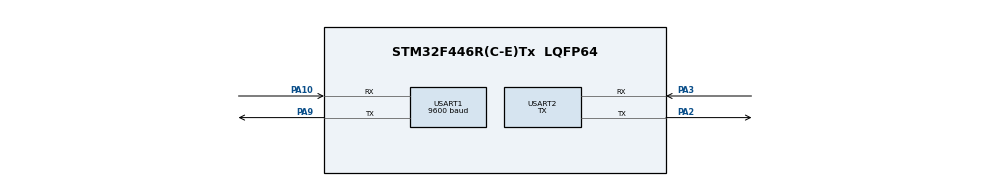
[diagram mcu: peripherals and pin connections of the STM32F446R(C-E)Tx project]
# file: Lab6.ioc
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Mcu.Family=STM32F4
Mcu.Name=STM32F446R(C-E)Tx
Mcu.Package=LQFP64
NVIC.PriorityGroup=NVIC_PRIORITYGROUP_4
NVIC.USART1_IRQn=true\:0\:0\:true\:false\:true\:true\:true\:true
NVIC.USART2_IRQn=true\:0\:0\:false\:false\:true\:true\:true\:true
PA10.Mode=Asynchronous
PA10.Signal=USART1_RX
PA2.Mode=Asynchronous
PA2.Signal=USART2_TX
PA3.Mode=Asynchronous
PA3.Signal=USART2_RX
PA9.Mode=Asynchronous
PA9.Signal=USART1_TX
ProjectManager.HeapSize=0x200
ProjectManager.StackSize=0x400
ProjectManager.TargetToolchain=STM32CubeIDE
RCC.CortexFreq_Value=16000000
RCC.USBFreq_Value=96000000
RCC.VCOOutputFreq_Value=192000000
USART1.BaudRate=9600
USART1.Mode=MODE_RX
USART1.VirtualMode=VM_ASYNC
USART2.Mode=MODE_TX
USART2.VirtualMode=VM_ASYNC
board=custom

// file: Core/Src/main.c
/* USER CODE BEGIN Header */
/**
  ******************************************************************************
  * @file           : main.c
  * @brief          : Main program body
  ******************************************************************************
  * @attention
  *
  * Copyright (c) 2024 STMicroelectronics.
  * All rights reserved.
  *
  * This software is licensed under terms that can be found in the LICENSE file
  * in the root directory of this software component.
  * If no LICENSE file comes with this software, it is provided AS-IS.
  *
  ******************************************************************************
  */
/* USER CODE END Header */
#include "main.h"

UART_HandleTypeDef huart1;
UART_HandleTypeDef huart2;

/* USER CODE BEGIN PV */
uint8_t buffer[10]; //Buffer que recive comandos
uint8_t Arriba[] = "Arriba\r\n";
uint8_t Abajo[] = "Abajo\r\n";
uint8_t Izquierda[] = "Izquierda\r\n";
uint8_t Derecha[] = "Derecha\r\n";
uint8_t A[] = "A\r\n";
uint8_t B[] = "B\r\n";

// Banderas para los caracteres 'a', 'b', 'c', 'd', 'e', 'f'
uint8_t flags[6] = {0};  // 0 para no enviado, 1 para enviado
/* USER CODE END PV */

void SystemClock_Config(void);
static void MX_GPIO_Init(void);
static void MX_USART1_UART_Init(void);
static void MX_USART2_UART_Init(void);

int main(void)
{

  /* MCU Configuration--------------------------------------------------------*/

  /* Reset of all peripherals, Initializes the Flash interface and the Systick. */
  HAL_Init();

  /* Configure the system clock */
  SystemClock_Config();

  /* Initialize all configured peripherals */
  MX_GPIO_Init();
  MX_USART1_UART_Init();
  MX_USART2_UART_Init();
  /* USER CODE BEGIN 2 */
  HAL_UART_Receive_IT(&huart1, buffer, 1);
  /* USER CODE END 2 */

  /* Infinite loop */
  /* USER CODE BEGIN WHILE */
  while (1)
  {
	  // Si se recibe 'a', imprime "Arriba"
	      if (buffer[0] == 'a') {
	          HAL_UART_Transmit(&huart2, Arriba, sizeof(Arriba), 1000);
	          buffer[0] = "o";
	      }
	      // Si se recibe 'b', imprime "Abajo"
	      else if (buffer[0] == 'b') {
	          HAL_UART_Transmit(&huart2, Abajo, sizeof(Abajo), 1000);
	          buffer[0] = "o";
	      }
	      // Si se recibe 'c', imprime "Izquierda"
	      else if (buffer[0] == 'c') {
	          HAL_UART_Transmit(&huart2, Izquierda, sizeof(Izquierda), 1000);
	          buffer[0] = "o";
	      }
	      // Si se recibe 'd', imprime "Derecha"
	      else if (buffer[0] == 'd') {
	          HAL_UART_Transmit(&huart2, Derecha, sizeof(Derecha), 1000);
	          buffer[0] = "o";
	      }
	      // Si se recibe 'e', imprime "A"
	      else if (buffer[0] == 'e') {
	          HAL_UART_Transmit(&huart2, A, sizeof(A), 1000);
	          buffer[0] = "o";
	      }
	      // Si se recibe 'f', imprime "B"
	      else if (buffer[0] == 'f') {
	          HAL_UART_Transmit(&huart2, B, sizeof(B), 1000);
	          buffer[0] = "o";
	      }

    /* USER CODE END WHILE */

  }
}

void SystemClock_Config(void)
{
  RCC_OscInitTypeDef RCC_OscInitStruct = {0};
  RCC_ClkInitTypeDef RCC_ClkInitStruct = {0};

  /** Configure the main internal regulator output voltage
  */
  __HAL_RCC_PWR_CLK_ENABLE();
  __HAL_PWR_VOLTAGESCALING_CONFIG(PWR_REGULATOR_VOLTAGE_SCALE3);

  /** Initializes the RCC Oscillators according to the specified parameters
  * in the RCC_OscInitTypeDef structure.
  */
  RCC_OscInitStruct.OscillatorType = RCC_OSCILLATORTYPE_HSI;
  RCC_OscInitStruct.HSIState = RCC_HSI_ON;
  RCC_OscInitStruct.HSICalibrationValue = RCC_HSICALIBRATION_DEFAULT;
  RCC_OscInitStruct.PLL.PLLState = RCC_PLL_NONE;
  if (HAL_RCC_OscConfig(&RCC_OscInitStruct) != HAL_OK)
  {
    Error_Handler();
  }

  /** Initializes the CPU, AHB and APB buses clocks
  */
  RCC_ClkInitStruct.ClockType = RCC_CLOCKTYPE_HCLK|RCC_CLOCKTYPE_SYSCLK
                              |RCC_CLOCKTYPE_PCLK1|RCC_CLOCKTYPE_PCLK2;
  RCC_ClkInitStruct.SYSCLKSource = RCC_SYSCLKSOURCE_HSI;
  RCC_ClkInitStruct.AHBCLKDivider = RCC_SYSCLK_DIV1;
  RCC_ClkInitStruct.APB1CLKDivider = RCC_HCLK_DIV1;
  RCC_ClkInitStruct.APB2CLKDivider = RCC_HCLK_DIV1;

  if (HAL_RCC_ClockConfig(&RCC_ClkInitStruct, FLASH_LATENCY_0) != HAL_OK)
  {
    Error_Handler();
  }
}

static void MX_USART1_UART_Init(void)
{

  huart1.Instance = USART1;
  huart1.Init.BaudRate = 9600;
  huart1.Init.WordLength = UART_WORDLENGTH_8B;
  huart1.Init.StopBits = UART_STOPBITS_1;
  huart1.Init.Parity = UART_PARITY_NONE;
  huart1.Init.Mode = UART_MODE_RX;
  huart1.Init.HwFlowCtl = UART_HWCONTROL_NONE;
  huart1.Init.OverSampling = UART_OVERSAMPLING_16;
  if (HAL_UART_Init(&huart1) != HAL_OK)
  {
    Error_Handler();
  }

}

static void MX_USART2_UART_Init(void)
{

  huart2.Instance = USART2;
  huart2.Init.BaudRate = 115200;
  huart2.Init.WordLength = UART_WORDLENGTH_8B;
  huart2.Init.StopBits = UART_STOPBITS_1;
  huart2.Init.Parity = UART_PARITY_NONE;
  huart2.Init.Mode = UART_MODE_TX;
  huart2.Init.HwFlowCtl = UART_HWCONTROL_NONE;
  huart2.Init.OverSampling = UART_OVERSAMPLING_16;
  if (HAL_UART_Init(&huart2) != HAL_OK)
  {
    Error_Handler();
  }

}

static void MX_GPIO_Init(void)
{

  /* GPIO Ports Clock Enable */
  __HAL_RCC_GPIOA_CLK_ENABLE();

}

/* USER CODE BEGIN 4 */
void HAL_UART_RxCpltCallback(UART_HandleTypeDef *huart)
{
	/*HAL_UART_Transmit(huart, buffer, sizeof(buffer), 10);
	HAL_UART_Receive_IT(&huart1, buffer, 8);*/
	if(huart->Instance == USART1){
		//HAL_UART_Transmit(&huart2, buffer, sizeof(buffer), 10);
		HAL_UART_Receive_IT(&huart1, buffer, 1);
	}
}
/* USER CODE END 4 */

void Error_Handler(void)
{
  __disable_irq();
  while (1)
  {
  }
}
